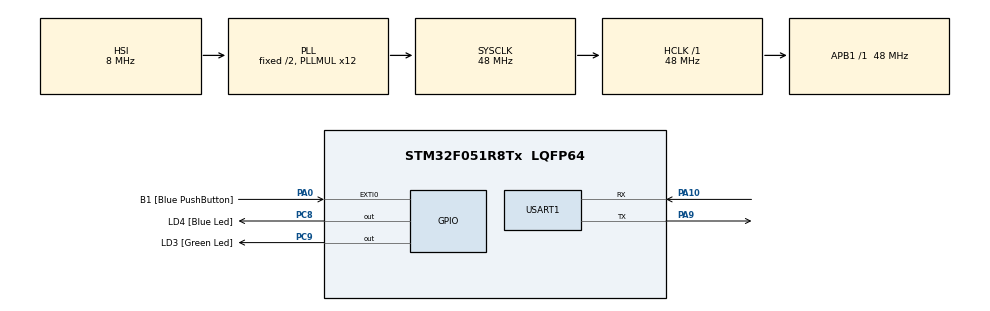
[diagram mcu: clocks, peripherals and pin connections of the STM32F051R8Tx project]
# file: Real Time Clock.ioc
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Mcu.Family=STM32F0
Mcu.Name=STM32F051R8Tx
Mcu.Package=LQFP64
PA0.GPIO_Label=B1 [Blue PushButton]
PA0.GPIO_ModeDefaultEXTI=GPIO_MODE_EVT_RISING
PA0.Signal=GPXTI0
PA10.Mode=Asynchronous
PA10.Signal=USART1_RX
PA13.GPIO_Label=SWDIO
PA13.Mode=Serial_Wire
PA13.Signal=SYS_SWDIO
PA14.GPIO_Label=SWCLK
PA14.Mode=Serial_Wire
PA14.Signal=SYS_SWCLK
PA9.Mode=Asynchronous
PA9.Signal=USART1_TX
PC8.GPIO_Label=LD4 [Blue Led]
PC8.Signal=GPIO_Output
PC9.GPIO_Label=LD3 [Green Led]
PC9.Signal=GPIO_Output
ProjectManager.HeapSize=0x200
ProjectManager.StackSize=0x400
ProjectManager.TargetToolchain=STM32CubeIDE
RCC.AHBFreq_Value=48000000
RCC.APB1Freq_Value=48000000
RCC.APB1TimFreq_Value=48000000
RCC.HCLKFreq_Value=48000000
RCC.PLLMUL=RCC_PLL_MUL12
RCC.SYSCLKFreq_VALUE=48000000
RCC.SYSCLKSource=RCC_SYSCLKSOURCE_PLLCLK
RTC.Date=12
RTC.Format=RTC_FORMAT_BIN
RTC.Hours=12
RTC.Minutes=23
RTC.Month=RTC_MONTH_JUNE
RTC.Seconds=12
RTC.Year=24
USART1.VirtualMode-Asynchronous=VM_ASYNC
VP_RTC_VS_RTC_Activate.Mode=RTC_Enabled
VP_RTC_VS_RTC_Calendar.Mode=RTC_Calendar
board=STM32F0DISCOVERY

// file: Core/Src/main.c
/* USER CODE BEGIN Header */
/**
  ******************************************************************************
  * @file           : main.c
  * @brief          : Main program body
  ******************************************************************************
  * @attention
  *
  * Copyright (c) 2024 STMicroelectronics.
  * All rights reserved.
  *
  * This software is licensed under terms that can be found in the LICENSE file
  * in the root directory of this software component.
  * If no LICENSE file comes with this software, it is provided AS-IS.
  *
  ******************************************************************************
  */
/* USER CODE END Header */
#include "main.h"

/* USER CODE BEGIN Includes */
#include <stdio.h>
#include <string.h>
#include <stdint.h>
/* USER CODE END Includes */

RTC_HandleTypeDef hrtc;

UART_HandleTypeDef huart1;

void SystemClock_Config(void);
static void MX_GPIO_Init(void);
static void MX_RTC_Init(void);
static void MX_USART1_UART_Init(void);

int main(void)
{
  /* USER CODE BEGIN 1 */
	HAL_StatusTypeDef ret;
  /* USER CODE END 1 */

  /* MCU Configuration--------------------------------------------------------*/

  /* Reset of all peripherals, Initializes the Flash interface and the Systick. */
  HAL_Init();

  /* Configure the system clock */
  SystemClock_Config();

  /* Initialize all configured peripherals */
  MX_GPIO_Init();
  MX_RTC_Init();
  MX_USART1_UART_Init();
  /* USER CODE BEGIN 2 */
  RTC_TimeTypeDef sTime = {0};
  RTC_DateTypeDef sDate = {0};
  /* USER CODE END 2 */

  /* Infinite loop */
  while (1)
  {

    /* USER CODE BEGIN 3 */
	  HAL_Delay(500);
	  // Black wire can go into any GND pin
	  // Yellow wire goes into PA9. PA9 is for when the board is transmitting data.
	  // The Yellow wire receives the data.
	  // Get the time from the RTC and store it in sTime
	  HAL_RTC_GetTime(&hrtc, &sTime, RTC_FORMAT_BIN);
	  // Need to compute the time in milliseconds based on the SubSeconds (remaining ticks in current second)
	  // The Synchronizing Prescaler + 1 is the SubSecond tick frequency
	  // So the total number of ticks per second is SynchPrediv + 1
	  uint32_t milliseconds = (1000 * sTime.SubSeconds) / (hrtc.Init.SynchPrediv + 1);
	  // Get the Date from the RTC and store it in sDate
	  HAL_RTC_GetDate(&hrtc, &sDate, RTC_FORMAT_BIN);
	  // Buffer to hold rtc data before it is transmitted
	  char buffer[100];
	  // Format time/date data into the buffer
	  snprintf(buffer, sizeof(buffer), "20%02d-%02d-%02d %02d:%02d:%02d:%03lu\r\n",
	                   sDate.Year, sDate.Month, sDate.Date, sTime.Hours, sTime.Minutes,
	                   sTime.Seconds, milliseconds);
	  // Transmit the RTC data over UART
	  // This can be seen on the COM port. I used PuTTY to display the data
	  HAL_UART_Transmit(&huart1, (uint8_t*)buffer, strlen(buffer), 1000);
  }
  /* USER CODE END 3 */
}

void SystemClock_Config(void)
{
  RCC_OscInitTypeDef RCC_OscInitStruct = {0};
  RCC_ClkInitTypeDef RCC_ClkInitStruct = {0};
  RCC_PeriphCLKInitTypeDef PeriphClkInit = {0};

  /** Initializes the RCC Oscillators according to the specified parameters
  * in the RCC_OscInitTypeDef structure.
  */
  RCC_OscInitStruct.OscillatorType = RCC_OSCILLATORTYPE_HSI|RCC_OSCILLATORTYPE_LSI;
  RCC_OscInitStruct.HSIState = RCC_HSI_ON;
  RCC_OscInitStruct.HSICalibrationValue = RCC_HSICALIBRATION_DEFAULT;
  RCC_OscInitStruct.LSIState = RCC_LSI_ON;
  RCC_OscInitStruct.PLL.PLLState = RCC_PLL_ON;
  RCC_OscInitStruct.PLL.PLLSource = RCC_PLLSOURCE_HSI;
  RCC_OscInitStruct.PLL.PLLMUL = RCC_PLL_MUL12;
  RCC_OscInitStruct.PLL.PREDIV = RCC_PREDIV_DIV1;
  if (HAL_RCC_OscConfig(&RCC_OscInitStruct) != HAL_OK)
  {
    Error_Handler();
  }

  /** Initializes the CPU, AHB and APB buses clocks
  */
  RCC_ClkInitStruct.ClockType = RCC_CLOCKTYPE_HCLK|RCC_CLOCKTYPE_SYSCLK
                              |RCC_CLOCKTYPE_PCLK1;
  RCC_ClkInitStruct.SYSCLKSource = RCC_SYSCLKSOURCE_PLLCLK;
  RCC_ClkInitStruct.AHBCLKDivider = RCC_SYSCLK_DIV1;
  RCC_ClkInitStruct.APB1CLKDivider = RCC_HCLK_DIV1;

  if (HAL_RCC_ClockConfig(&RCC_ClkInitStruct, FLASH_LATENCY_1) != HAL_OK)
  {
    Error_Handler();
  }
  PeriphClkInit.PeriphClockSelection = RCC_PERIPHCLK_USART1|RCC_PERIPHCLK_RTC;
  PeriphClkInit.Usart1ClockSelection = RCC_USART1CLKSOURCE_PCLK1;
  PeriphClkInit.RTCClockSelection = RCC_RTCCLKSOURCE_LSI;
  if (HAL_RCCEx_PeriphCLKConfig(&PeriphClkInit) != HAL_OK)
  {
    Error_Handler();
  }
}

static void MX_RTC_Init(void)
{

  RTC_TimeTypeDef sTime = {0};
  RTC_DateTypeDef sDate = {0};

  /** Initialize RTC Only
  */
  hrtc.Instance = RTC;
  hrtc.Init.HourFormat = RTC_HOURFORMAT_24;
  hrtc.Init.AsynchPrediv = 127;
  hrtc.Init.SynchPrediv = 255;
  hrtc.Init.OutPut = RTC_OUTPUT_DISABLE;
  hrtc.Init.OutPutPolarity = RTC_OUTPUT_POLARITY_HIGH;
  hrtc.Init.OutPutType = RTC_OUTPUT_TYPE_OPENDRAIN;
  if (HAL_RTC_Init(&hrtc) != HAL_OK)
  {
    Error_Handler();
  }

  /** Initialize RTC and set the Time and Date
  */
  sTime.Hours = 12;
  sTime.Minutes = 23;
  sTime.Seconds = 12;
  sTime.DayLightSaving = RTC_DAYLIGHTSAVING_NONE;
  sTime.StoreOperation = RTC_STOREOPERATION_RESET;
  if (HAL_RTC_SetTime(&hrtc, &sTime, RTC_FORMAT_BIN) != HAL_OK)
  {
    Error_Handler();
  }
  sDate.WeekDay = RTC_WEEKDAY_MONDAY;
  sDate.Month = RTC_MONTH_JUNE;
  sDate.Date = 12;
  sDate.Year = 24;

  if (HAL_RTC_SetDate(&hrtc, &sDate, RTC_FORMAT_BIN) != HAL_OK)
  {
    Error_Handler();
  }

}

static void MX_USART1_UART_Init(void)
{

  huart1.Instance = USART1;
  huart1.Init.BaudRate = 115200;
  huart1.Init.WordLength = UART_WORDLENGTH_8B;
  huart1.Init.StopBits = UART_STOPBITS_1;
  huart1.Init.Parity = UART_PARITY_NONE;
  huart1.Init.Mode = UART_MODE_TX_RX;
  huart1.Init.HwFlowCtl = UART_HWCONTROL_NONE;
  huart1.Init.OverSampling = UART_OVERSAMPLING_16;
  huart1.Init.OneBitSampling = UART_ONE_BIT_SAMPLE_DISABLE;
  huart1.AdvancedInit.AdvFeatureInit = UART_ADVFEATURE_NO_INIT;
  if (HAL_UART_Init(&huart1) != HAL_OK)
  {
    Error_Handler();
  }

}

static void MX_GPIO_Init(void)
{
  GPIO_InitTypeDef GPIO_InitStruct = {0};

  /* GPIO Ports Clock Enable */
  __HAL_RCC_GPIOA_CLK_ENABLE();
  __HAL_RCC_GPIOC_CLK_ENABLE();

  /*Configure GPIO pin Output Level */
  HAL_GPIO_WritePin(GPIOC, LD4_Pin|LD3_Pin, GPIO_PIN_RESET);

  /*Configure GPIO pin : B1_Pin */
  GPIO_InitStruct.Pin = B1_Pin;
  GPIO_InitStruct.Mode = GPIO_MODE_EVT_RISING;
  GPIO_InitStruct.Pull = GPIO_NOPULL;
  HAL_GPIO_Init(B1_GPIO_Port, &GPIO_InitStruct);

  /*Configure GPIO pins : LD4_Pin LD3_Pin */
  GPIO_InitStruct.Pin = LD4_Pin|LD3_Pin;
  GPIO_InitStruct.Mode = GPIO_MODE_OUTPUT_PP;
  GPIO_InitStruct.Pull = GPIO_NOPULL;
  GPIO_InitStruct.Speed = GPIO_SPEED_FREQ_LOW;
  HAL_GPIO_Init(GPIOC, &GPIO_InitStruct);

}

void Error_Handler(void)
{
  __disable_irq();
  while (1)
  {
  }
}
